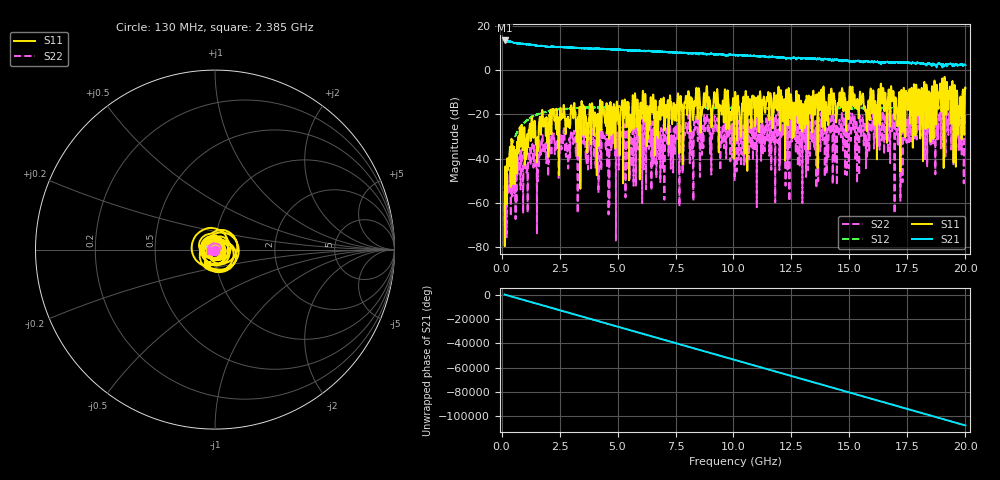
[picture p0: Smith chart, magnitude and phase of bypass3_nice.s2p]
!Created with skrf (http://scikit-rf.org).
# GHz S RI R 50.0
!freq ReS11 ImS11 ReS21 ImS21 ReS12 ImS12 ReS22 ImS22
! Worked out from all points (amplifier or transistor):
!   20013 points, 130 MHz to 20 GHz, reference 50 ohm
!   highest |S21| = 13.4 dB at 130 MHz (marker M1)
!   |S21| within 3 dB of that: start of sweep to 2.076 GHz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
!   unconditionally stable (mu >= 1): start of sweep to end of sweep
!   at 3.465 GHz: K = 1.33, MAG = 10.1 dB, |S12| = -17.0 dB
!   at 10.14 GHz: K = 1.77, MAG = 6.8 dB, |S12| = -17.0 dB
!   at 20 GHz: K = 2.33, MAG = 3.0 dB, |S12| = -16.6 dB
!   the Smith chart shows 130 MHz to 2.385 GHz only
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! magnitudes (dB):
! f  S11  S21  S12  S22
! 130 MHz  -54.9  13.4  -53.3  -61.4
! 345 MHz  -36.9  12.8  -37.6  -46.4
! 957 MHz  -29.4  11.8  -23.9  -38.5
! 1.352 GHz  -26.9  11.4  -20.9  -37.2
! 1.533 GHz  -35.6  11.0  -20.1  -47.7
! 2.157 GHz  -24.5  10.7  -18.0  -36.0
! 3.442 GHz  -14.4  9.9  -17.1  -28.3
! 6.754 GHz  -26.2  8.4  -16.6  -33.1
! 7.536 GHz  -22.8  8.0  -16.7  -27.5
! 7.746 GHz  -15.7  7.9  -16.7  -35.9
! 7.996 GHz  -20.1  7.8  -16.7  -27.0
! 8.193 GHz  -14.6  7.6  -16.8  -32.2
! 8.431 GHz  -12.6  7.6  -16.9  -23.0
! 8.624 GHz  -20.4  7.6  -16.8  -29.9
! 8.814 GHz  -10.8  7.2  -17.1  -22.0
! 9.059 GHz  -24.3  7.5  -16.7  -31.9
! 10.06 GHz  -10.5  6.6  -17.2  -23.4
! 13.38 GHz  -17.8  5.3  -16.7  -29.3
! 16.69 GHz  -8.9  3.4  -17.3  -21.1
! 19.05 GHz  -12.9  2.7  -16.7  -31.5
! 19.66 GHz  -16.1  2.1  -16.9  -22.5
! 20 GHz  -8.2  2.3  -16.6  -20.8
